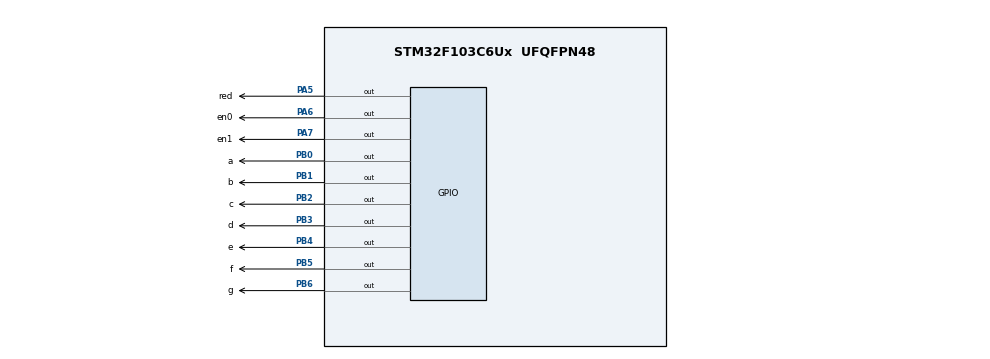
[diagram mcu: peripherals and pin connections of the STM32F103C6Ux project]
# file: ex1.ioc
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Mcu.Family=STM32F1
Mcu.Name=STM32F103C6Ux
Mcu.Package=UFQFPN48
NVIC.PriorityGroup=NVIC_PRIORITYGROUP_4
PA5.GPIO_Label=red
PA5.Signal=GPIO_Output
PA6.GPIO_Label=en0
PA6.Signal=GPIO_Output
PA7.GPIO_Label=en1
PA7.Signal=GPIO_Output
PB0.GPIO_Label=a
PB0.Signal=GPIO_Output
PB1.GPIO_Label=b
PB1.Signal=GPIO_Output
PB2.GPIO_Label=c
PB2.Signal=GPIO_Output
PB3.GPIO_Label=d
PB3.Signal=GPIO_Output
PB4.GPIO_Label=e
PB4.Signal=GPIO_Output
PB5.GPIO_Label=f
PB5.Signal=GPIO_Output
PB6.GPIO_Label=g
PB6.Signal=GPIO_Output
ProjectManager.HeapSize=0x200
ProjectManager.StackSize=0x400
ProjectManager.TargetToolchain=STM32CubeIDE
RCC.APB1Freq_Value=8000000
RCC.APB2Freq_Value=8000000
VP_SYS_VS_ND.Mode=No_Debug
board=custom

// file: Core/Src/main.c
/* USER CODE BEGIN Header */
/**
  ******************************************************************************
  * @file           : main.c
  * @brief          : Main program body
  ******************************************************************************
  * @attention
  *
  * <h2><center>&copy; Copyright (c) 2023 STMicroelectronics.
  * All rights reserved.</center></h2>
  *
  * This software component is licensed by ST under BSD 3-Clause license,
  * the "License"; You may not use this file except in compliance with the
  * License. You may obtain a copy of the License at:
  *                        opensource.org/licenses/BSD-3-Clause
  *
  ******************************************************************************
  */
/* USER CODE END Header */
#include "main.h"

void SystemClock_Config(void);
static void MX_GPIO_Init(void);

void display7SEG(int num){
  	  if(num == 0){
  		  HAL_GPIO_WritePin(a_GPIO_Port, a_Pin, RESET);
  		  HAL_GPIO_WritePin(b_GPIO_Port, b_Pin, RESET);
  		  HAL_GPIO_WritePin(c_GPIO_Port, c_Pin, RESET);
  		  HAL_GPIO_WritePin(d_GPIO_Port, d_Pin, RESET);
  		  HAL_GPIO_WritePin(e_GPIO_Port, e_Pin, RESET);
  		  HAL_GPIO_WritePin(f_GPIO_Port, f_Pin, RESET);
  		  HAL_GPIO_WritePin(g_GPIO_Port, g_Pin, SET);
  	  }
  	  if(num == 1){
  		  HAL_GPIO_WritePin(a_GPIO_Port, a_Pin, SET);
  		  HAL_GPIO_WritePin(b_GPIO_Port, b_Pin, RESET);
  		  HAL_GPIO_WritePin(c_GPIO_Port, c_Pin, RESET);
  		  HAL_GPIO_WritePin(d_GPIO_Port, d_Pin, SET);
  		  HAL_GPIO_WritePin(e_GPIO_Port, e_Pin, SET);
  		  HAL_GPIO_WritePin(f_GPIO_Port, f_Pin, SET);
  		  HAL_GPIO_WritePin(g_GPIO_Port, g_Pin, SET);
  	  }
  	  if(num == 2){
  		  HAL_GPIO_WritePin(a_GPIO_Port, a_Pin, RESET);
  		  HAL_GPIO_WritePin(b_GPIO_Port, b_Pin, RESET);
  		  HAL_GPIO_WritePin(c_GPIO_Port, c_Pin, SET);
  		  HAL_GPIO_WritePin(d_GPIO_Port, d_Pin, RESET);
  		  HAL_GPIO_WritePin(e_GPIO_Port, e_Pin, RESET);
  		  HAL_GPIO_WritePin(f_GPIO_Port, f_Pin, SET);
  		  HAL_GPIO_WritePin(g_GPIO_Port, g_Pin, RESET);
  	  }
  	  if(num == 3){
  		  HAL_GPIO_WritePin(a_GPIO_Port, a_Pin, RESET);
  		  HAL_GPIO_WritePin(b_GPIO_Port, b_Pin, RESET);
  		  HAL_GPIO_WritePin(c_GPIO_Port, c_Pin, RESET);
  		  HAL_GPIO_WritePin(d_GPIO_Port, d_Pin, RESET);
  		  HAL_GPIO_WritePin(e_GPIO_Port, e_Pin, SET);
  		  HAL_GPIO_WritePin(f_GPIO_Port, f_Pin, SET);
  		  HAL_GPIO_WritePin(g_GPIO_Port, g_Pin, RESET);
  	  }
  	  if(num == 4){
  		  HAL_GPIO_WritePin(a_GPIO_Port, a_Pin, SET);
  		  HAL_GPIO_WritePin(b_GPIO_Port, b_Pin, RESET);
  		  HAL_GPIO_WritePin(c_GPIO_Port, c_Pin, RESET);
  		  HAL_GPIO_WritePin(d_GPIO_Port, d_Pin, SET);
  		  HAL_GPIO_WritePin(e_GPIO_Port, e_Pin, SET);
  		  HAL_GPIO_WritePin(f_GPIO_Port, f_Pin, RESET);
  		  HAL_GPIO_WritePin(g_GPIO_Port, g_Pin, RESET);
  	  }
  	  if(num == 5){
  		  HAL_GPIO_WritePin(a_GPIO_Port, a_Pin, RESET);
  		  HAL_GPIO_WritePin(b_GPIO_Port, b_Pin, SET);
  		  HAL_GPIO_WritePin(c_GPIO_Port, c_Pin, RESET);
  		  HAL_GPIO_WritePin(d_GPIO_Port, d_Pin, RESET);
  		  HAL_GPIO_WritePin(e_GPIO_Port, e_Pin, SET);
  		  HAL_GPIO_WritePin(f_GPIO_Port, f_Pin, RESET);
  		  HAL_GPIO_WritePin(g_GPIO_Port, g_Pin, RESET);
  	  }
  	  if(num == 6){
  		  HAL_GPIO_WritePin(a_GPIO_Port, a_Pin, RESET);
  		  HAL_GPIO_WritePin(b_GPIO_Port, b_Pin, SET);
  		  HAL_GPIO_WritePin(c_GPIO_Port, c_Pin, RESET);
  		  HAL_GPIO_WritePin(d_GPIO_Port, d_Pin, RESET);
  		  HAL_GPIO_WritePin(e_GPIO_Port, e_Pin, RESET);
  		  HAL_GPIO_WritePin(f_GPIO_Port, f_Pin, RESET);
  		  HAL_GPIO_WritePin(g_GPIO_Port, g_Pin, RESET);
  	  }
  	  if(num == 7){
  		  HAL_GPIO_WritePin(a_GPIO_Port, a_Pin, RESET);
  		  HAL_GPIO_WritePin(b_GPIO_Port, b_Pin, RESET);
  		  HAL_GPIO_WritePin(c_GPIO_Port, c_Pin, RESET);
  		  HAL_GPIO_WritePin(d_GPIO_Port, d_Pin, SET);
  		  HAL_GPIO_WritePin(e_GPIO_Port, e_Pin, SET);
  		  HAL_GPIO_WritePin(f_GPIO_Port, f_Pin, SET);
  		  HAL_GPIO_WritePin(g_GPIO_Port, g_Pin, SET);
  	  }
  	  if(num == 8){
  		  HAL_GPIO_WritePin(a_GPIO_Port, a_Pin, RESET);
  		  HAL_GPIO_WritePin(b_GPIO_Port, b_Pin, RESET);
  		  HAL_GPIO_WritePin(c_GPIO_Port, c_Pin, RESET);
  		  HAL_GPIO_WritePin(d_GPIO_Port, d_Pin, RESET);
  		  HAL_GPIO_WritePin(e_GPIO_Port, e_Pin, RESET);
  		  HAL_GPIO_WritePin(f_GPIO_Port, f_Pin, RESET);
  		  HAL_GPIO_WritePin(g_GPIO_Port, g_Pin, RESET);
  	  }
  	  if(num == 9){
  		  HAL_GPIO_WritePin(a_GPIO_Port, a_Pin, RESET);
  		  HAL_GPIO_WritePin(b_GPIO_Port, b_Pin, RESET);
  		  HAL_GPIO_WritePin(c_GPIO_Port, c_Pin, RESET);
  		  HAL_GPIO_WritePin(d_GPIO_Port, d_Pin, RESET);
  		  HAL_GPIO_WritePin(e_GPIO_Port, e_Pin, SET);
  		  HAL_GPIO_WritePin(f_GPIO_Port, f_Pin, RESET);
  		  HAL_GPIO_WritePin(g_GPIO_Port, g_Pin, RESET);
  	  }
  }
 int count = 0;
int main(void)
{

  /* MCU Configuration--------------------------------------------------------*/

  /* Reset of all peripherals, Initializes the Flash interface and the Systick. */
  HAL_Init();

  /* Configure the system clock */
  SystemClock_Config();

  /* Initialize all configured peripherals */
  MX_GPIO_Init();

  /* Infinite loop */
  /* USER CODE BEGIN WHILE */
  while (1)
  {
  }
}

void SystemClock_Config(void)
{
  RCC_OscInitTypeDef RCC_OscInitStruct = {0};
  RCC_ClkInitTypeDef RCC_ClkInitStruct = {0};

  /** Initializes the RCC Oscillators according to the specified parameters
  * in the RCC_OscInitTypeDef structure.
  */
  RCC_OscInitStruct.OscillatorType = RCC_OSCILLATORTYPE_HSI;
  RCC_OscInitStruct.HSIState = RCC_HSI_ON;
  RCC_OscInitStruct.HSICalibrationValue = RCC_HSICALIBRATION_DEFAULT;
  RCC_OscInitStruct.PLL.PLLState = RCC_PLL_NONE;
  if (HAL_RCC_OscConfig(&RCC_OscInitStruct) != HAL_OK)
  {
    Error_Handler();
  }
  /** Initializes the CPU, AHB and APB buses clocks
  */
  RCC_ClkInitStruct.ClockType = RCC_CLOCKTYPE_HCLK|RCC_CLOCKTYPE_SYSCLK
                              |RCC_CLOCKTYPE_PCLK1|RCC_CLOCKTYPE_PCLK2;
  RCC_ClkInitStruct.SYSCLKSource = RCC_SYSCLKSOURCE_HSI;
  RCC_ClkInitStruct.AHBCLKDivider = RCC_SYSCLK_DIV1;
  RCC_ClkInitStruct.APB1CLKDivider = RCC_HCLK_DIV1;
  RCC_ClkInitStruct.APB2CLKDivider = RCC_HCLK_DIV1;

  if (HAL_RCC_ClockConfig(&RCC_ClkInitStruct, FLASH_LATENCY_0) != HAL_OK)
  {
    Error_Handler();
  }
}

static void MX_GPIO_Init(void)
{
  GPIO_InitTypeDef GPIO_InitStruct = {0};

  /* GPIO Ports Clock Enable */
  __HAL_RCC_GPIOA_CLK_ENABLE();
  __HAL_RCC_GPIOB_CLK_ENABLE();

  /*Configure GPIO pin Output Level */
  HAL_GPIO_WritePin(GPIOA, red_Pin|en0_Pin|en1_Pin, GPIO_PIN_RESET);

  /*Configure GPIO pin Output Level */
  HAL_GPIO_WritePin(GPIOB, a_Pin|b_Pin|c_Pin|d_Pin
                          |e_Pin|f_Pin|g_Pin, GPIO_PIN_RESET);

  /*Configure GPIO pins : red_Pin en0_Pin en1_Pin */
  GPIO_InitStruct.Pin = red_Pin|en0_Pin|en1_Pin;
  GPIO_InitStruct.Mode = GPIO_MODE_OUTPUT_PP;
  GPIO_InitStruct.Pull = GPIO_NOPULL;
  GPIO_InitStruct.Speed = GPIO_SPEED_FREQ_LOW;
  HAL_GPIO_Init(GPIOA, &GPIO_InitStruct);

  /*Configure GPIO pins : a_Pin b_Pin c_Pin d_Pin
                           e_Pin f_Pin g_Pin */
  GPIO_InitStruct.Pin = a_Pin|b_Pin|c_Pin|d_Pin
                          |e_Pin|f_Pin|g_Pin;
  GPIO_InitStruct.Mode = GPIO_MODE_OUTPUT_PP;
  GPIO_InitStruct.Pull = GPIO_NOPULL;
  GPIO_InitStruct.Speed = GPIO_SPEED_FREQ_LOW;
  HAL_GPIO_Init(GPIOB, &GPIO_InitStruct);

}

/* USER CODE BEGIN 4 */
int count = 0;
uint32_t previousTick = HAL_GetTick();
uint32_t delay = 500;
void HAL_TIM_PeriodElapsedCallback ( TIM_HandleTypeDef * htim ){
	uint32_t currentTick = HAL_GetTick();

    if (currentTick - previousTick >= delay) {
    	previousTick = currentTick;

		if (count == 0) {
		   HAL_GPIO_WritePin(red_GPIO_Port, red_Pin, SET);
		   HAL_GPIO_WritePin(en0_GPIO_Port, en0_Pin, RESET);
		   HAL_GPIO_WritePin(en1_GPIO_Port, en1_Pin, SET);
		   display7SEG(1);
		} else {
		   HAL_GPIO_WritePin(red_GPIO_Port, red_Pin, RESET);
		   HAL_GPIO_WritePin(en0_GPIO_Port, en0_Pin, SET);
		   HAL_GPIO_WritePin(en1_GPIO_Port, en1_Pin, RESET);
		   display7SEG(2);
		}
	    count = 1 - count;

}

/* USER CODE END 4 */

void Error_Handler(void)
{
  __disable_irq();
  while (1)
  {
  }
}

/************************ (C) COPYRIGHT STMicroelectronics *****END OF FILE****/
